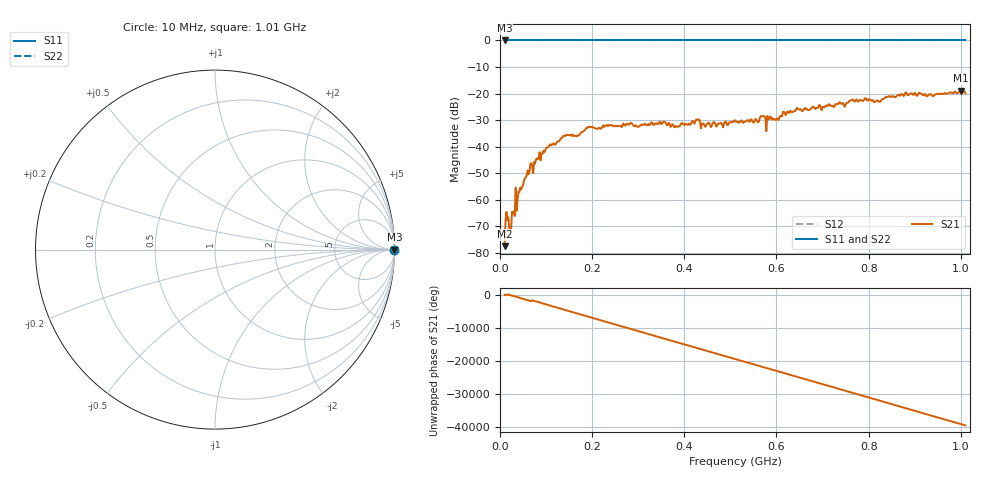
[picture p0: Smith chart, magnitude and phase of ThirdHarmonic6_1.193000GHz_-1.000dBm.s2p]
! 8/16/2025 12:17:22 PM
! C:\ANRITSUVNA\TEMP\TEMP.S2P
! CHANNEL.1
! TR.MEASUREMENT
! RAW.DATA
! RF.CORRECTION.OFF
! AVERAGING.OFF
! IF.BANDWIDTH: 5KHZ
! SWEEPTYPE:  FREQ.SWEEP(Linear)
! Reference Plane Port Info
! PORT:  PORT1  PORT2
! DISTANCE:  0  m  0  m
! TIME:  0  s  0  s
! PHASE.OFFSET:  0  deg.  0  deg.
! LOSS:  0  dB  0  dB
! REF.LOSS:  0  dB  0  dB
! REF.FREQ:  0  Hz  0  Hz
! Power Info
! POWER:  -20  dBm  -20  dBm
! EFF.POWER:  -20  dBm  -20  dBm
! SOURCE.ATTEN:  0  dB  0  dB
! TEST.ATTEN:  0  dB  0  dB
# GHZ S RI R 50.0
! FREQ.GHZ  S11RE  S11IM  S21RE  S21IM  S12RE  S12IM  S22RE  S22IM
!; PortSelection: Port_12
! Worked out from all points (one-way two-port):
!   501 points, 10 MHz to 1.01 GHz, reference 50 ohm
!   highest |S21| = -18.91 dB at 1 GHz (marker M1); lowest = -77.5 dB at 10 MHz (marker M2)
!   lowest |S11| = 0.0 dB at 10 MHz (marker M3)
!   |S11| at or under -10 dB: nowhere
!   |S22| runs from 0.0 to 0.0 dB; largest |S21 - S12| = 1.1
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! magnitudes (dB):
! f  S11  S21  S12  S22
! 10 MHz  0.0  -77.5  0.0  0.0
! 16 MHz  0.0  -67.7  0.0  0.0
! 20 MHz  0.0  -70.3  0.0  0.0
! 24 MHz  0.0  -71.6  0.0  0.0
! 30 MHz  0.0  -64.4  0.0  0.0
! 56 MHz  0.0  -51.6  0.0  0.0
! 82 MHz  0.0  -44.8  0.0  0.0
! 140 MHz  0.0  -35.8  0.0  0.0
! 178 MHz  0.0  -34.5  0.0  0.0
! 194 MHz  0.0  -32.5  0.0  0.0
! 344 MHz  0.0  -31.3  0.0  0.0
! 382 MHz  0.0  -32.2  0.0  0.0
! 428 MHz  0.0  -29.8  0.0  0.0
! 440 MHz  0.0  -31.2  0.0  0.0
! 510 MHz  0.0  -30.1  0.0  0.0
! 570 MHz  0.0  -28.4  0.0  0.0
! 602 MHz  0.0  -29.3  0.0  0.0
! 618 MHz  0.0  -27.4  0.0  0.0
! 678 MHz  0.0  -25.0  0.0  0.0
! 844 MHz  0.0  -21.0  0.0  0.0
! 1 GHz  0.0  -18.9  0.0  0.0
! 1.01 GHz  0.0  -19.8  0.0  0.0
